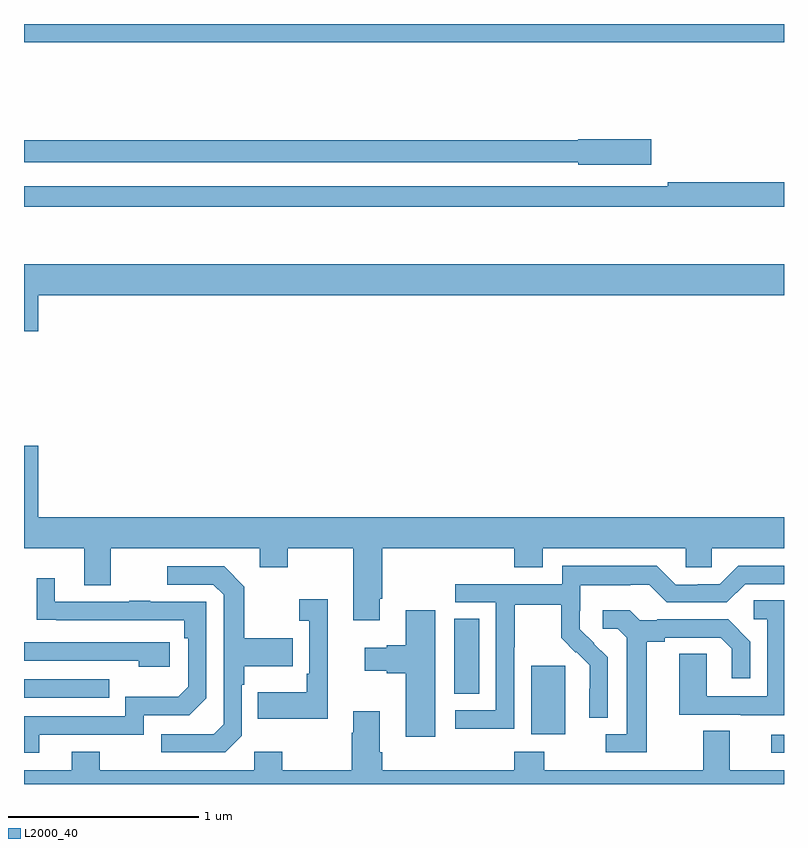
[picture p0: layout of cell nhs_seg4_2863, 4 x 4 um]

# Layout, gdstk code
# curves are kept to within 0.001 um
import gdstk
lib = gdstk.Library(unit=1e-6, precision=1e-09)
def R(c, l, rs):  # rectangles x0, y0, x1, y1
    for r in rs: c.add(gdstk.rectangle(r[:2], r[2:], *l))
def P(c, l, *ps):  # polygons
    for p in ps: c.add(gdstk.Polygon(p, *l))
L2000_40 = (2000, 40)

nhs_seg4_2863 = lib.new_cell('nhs_seg4_2863')
R(nhs_seg4_2863, L2000_40, [(264.933,809.064,265,809.16), (263.669,809.162,263.848,809.523), (261,809.355,261.449,809.451), (263.264,809.374,263.395,809.771), (261,812.804,265,812.9)])
P(nhs_seg4_2863, L2000_40, [(264.301,812.294),(263.916,812.294),(263.916,812.288),(261,812.288),(261,812.172),(263.916,812.172),(263.916,812.159),(264.301,812.159)],
  [(265,812.066),(264.388,812.066),(264.388,812.046),(261,812.046),(261,811.938),(265,811.938)],
  [(261.076,811.472),(265,811.472),(265,811.636),(261,811.636),(261,811.284),(261.076,811.284)],
  [(262.873,809.875),(262.886,809.875),(262.886,810.14),(263.579,810.14),(263.579,810.041),(263.731,810.041),(263.731,810.14),(264.483,810.14),(264.483,810.042),(264.621,810.042),(264.621,810.14),(265,810.14),(265,810.304),(261.076,810.304),(261.076,810.679),(261,810.679),(261,810.14),(261.317,810.14),(261.317,809.946),(261.457,809.946),(261.457,810.14),(262.241,810.14),(262.241,810.041),(262.389,810.041),(262.389,810.14),(262.733,810.14),(262.733,809.763),(262.873,809.763)],
  [(263.58,809.62),(263.583,809.62),(263.583,809.844),(263.827,809.844),(263.827,809.669),(263.904,809.592),(263.907,809.595),(263.978,809.525),(263.978,809.402),(263.976,809.402),(263.976,809.248),(264.072,809.248),(264.072,809.566),(263.926,809.714),(263.926,809.811),(263.928,809.811),(263.928,809.945),(264.191,809.945),(264.191,809.949),(264.291,809.949),(264.384,809.856),(264.699,809.856),(264.795,809.952),(265,809.952),(265,810.048),(264.759,810.048),(264.663,809.952),(264.545,809.952),(264.545,809.949),(264.429,809.949),(264.329,810.049),(263.832,810.049),(263.832,809.952),(263.271,809.952),(263.271,809.856),(263.484,809.856),(263.484,809.289),(263.271,809.289),(263.271,809.191),(263.58,809.191)],
  [(262.146,809.154),(262.146,809.423),(262.159,809.423),(262.159,809.519),(262.415,809.519),(262.415,809.667),(262.159,809.667),(262.159,809.939),(262.053,810.045),(261.753,810.045),(261.753,809.949),(261.996,809.949),(262.05,809.895),(262.05,809.214),(261.999,809.163),(261.723,809.163),(261.723,809.067),(262.059,809.067)],
  [(261.079,809.16),(261.63,809.16),(261.63,809.262),(261.87,809.262),(261.96,809.352),(261.96,809.859),(261.665,809.859),(261.665,809.864),(261.553,809.864),(261.553,809.859),(261.163,809.859),(261.163,809.983),(261.067,809.983),(261.067,809.764),(261.844,809.763),(261.844,809.666),(261.864,809.666),(261.864,809.412),(261.811,809.359),(261.534,809.359),(261.534,809.256),(261,809.256),(261,809.064),(261.079,809.064)],
  [(262.598,809.872),(262.449,809.872),(262.449,809.759),(262.5,809.759),(262.5,809.479),(262.488,809.479),(262.488,809.383),(262.231,809.383),(262.231,809.243),(262.598,809.243)],
  [(265,809.867),(264.84,809.867),(264.84,809.766),(264.912,809.766),(264.912,809.361),(264.594,809.361),(264.594,809.585),(264.449,809.585),(264.449,809.265),(264.773,809.265),(264.773,809.261),(265,809.261)],
  [(263.164,809.815),(263.009,809.815),(263.009,809.63),(262.91,809.63),(262.91,809.617),(262.794,809.617),(262.794,809.495),(262.91,809.495),(262.91,809.483),(263.009,809.483),(263.009,809.148),(263.164,809.148)],
  [(264.277,809.648),(264.373,809.648),(264.373,809.67),(264.668,809.67),(264.725,809.613),(264.725,809.457),(264.822,809.457),(264.822,809.65),(264.706,809.766),(264.334,809.766),(264.334,809.763),(264.24,809.763),(264.188,809.815),(264.045,809.815),(264.045,809.718),(264.126,809.718),(264.173,809.671),(264.173,809.163),(264.063,809.163),(264.063,809.067),(264.277,809.067)],
  [(261.766,809.646),(261,809.646),(261,809.55),(261.605,809.55),(261.605,809.516),(261.766,809.516)],
  [(265,808.972),(264.715,808.972),(264.715,809.18),(264.575,809.18),(264.575,808.972),(263.739,808.972),(263.739,809.071),(263.579,809.071),(263.579,808.972),(262.886,808.972),(262.886,809.068),(262.873,809.068),(262.873,809.284),(262.733,809.284),(262.733,809.171),(262.726,809.171),(262.726,808.972),(262.359,808.972),(262.359,809.071),(262.212,809.071),(262.212,808.972),(261.399,808.972),(261.399,809.071),(261.251,809.071),(261.251,808.972),(261,808.972),(261,808.9),(265,808.9)])

lib.write_gds('nhs_seg4_2863.gds')
